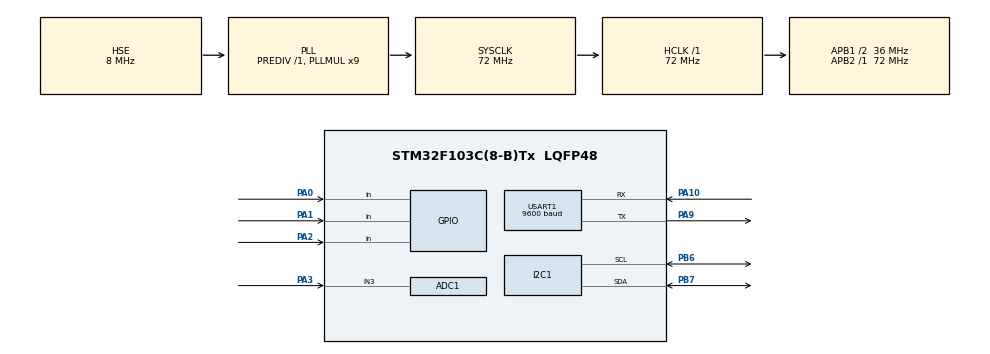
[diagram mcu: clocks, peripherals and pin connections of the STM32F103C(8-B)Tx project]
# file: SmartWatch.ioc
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ADC1.Channel-0\#ChannelRegularConversion=ADC_CHANNEL_3
ADC1.NbrOfConversion=1
ADC1.NbrOfConversionFlag=1
ADC1.Rank-0\#ChannelRegularConversion=1
ADC1.SamplingTime-0\#ChannelRegularConversion=ADC_SAMPLETIME_1CYCLE_5
ADC1.master=1
FREERTOS.Mutexes01=I2C_Mutex,Dynamic,NULL,Available
FREERTOS.Tasks01=Task_Display,-2,128,StartTaskDisplay,Default,NULL,Dynamic,NULL,NULL;Task_Sensor,0,128,StartTaskSensor,Default,NULL,Dynamic,NULL,NULL;Task_Bluetooth,0,256,StartTaskBluetooth,Default,NULL,Dynamic,NULL,NULL;Task_KeyEncoder,2,128,StartTaskEncoder,Default,NULL,Dynamic,NULL,NULL
FREERTOS.configTOTAL_HEAP_SIZE=10240
FREERTOS.configUSE_NEWLIB_REENTRANT=1
I2C1.I2C_Mode=I2C_Standard
Mcu.Family=STM32F1
Mcu.Name=STM32F103C(8-B)Tx
Mcu.Package=LQFP48
NVIC.PriorityGroup=NVIC_PRIORITYGROUP_4
NVIC.TIM2_IRQn=true\:15\:0\:false\:false\:true\:false\:false\:true\:true
NVIC.TimeBase=TIM2_IRQn
NVIC.TimeBaseIP=TIM2
NVIC.USART1_IRQn=true\:5\:0\:false\:false\:true\:true\:true\:true\:true
PA0-WKUP.GPIO_PuPd=GPIO_PULLUP
PA0-WKUP.Signal=GPIO_Input
PA1.GPIO_PuPd=GPIO_PULLUP
PA1.Signal=GPIO_Input
PA10.Mode=Asynchronous
PA10.Signal=USART1_RX
PA13.Mode=Serial_Wire
PA13.Signal=SYS_JTMS-SWDIO
PA14.Mode=Serial_Wire
PA14.Signal=SYS_JTCK-SWCLK
PA2.GPIO_PuPd=GPIO_PULLUP
PA2.Signal=GPIO_Input
PA3.Signal=ADCx_IN3
PA9.Mode=Asynchronous
PA9.Signal=USART1_TX
PB6.Mode=I2C
PB6.Signal=I2C1_SCL
PB7.Mode=I2C
PB7.Signal=I2C1_SDA
PD0-OSC_IN.Mode=HSE-External-Oscillator
PD0-OSC_IN.Signal=RCC_OSC_IN
PD1-OSC_OUT.Mode=HSE-External-Oscillator
PD1-OSC_OUT.Signal=RCC_OSC_OUT
ProjectManager.HeapSize=0x200
ProjectManager.StackSize=0x400
ProjectManager.TargetToolchain=STM32CubeIDE
RCC.ADCPresc=RCC_ADCPCLK2_DIV6
RCC.AHBFreq_Value=72000000
RCC.APB1CLKDivider=RCC_HCLK_DIV2
RCC.APB1Freq_Value=36000000
RCC.APB1TimFreq_Value=72000000
RCC.APB2Freq_Value=72000000
RCC.APB2TimFreq_Value=72000000
RCC.HCLKFreq_Value=72000000
RCC.PLLMUL=RCC_PLL_MUL9
RCC.PLLSourceVirtual=RCC_PLLSOURCE_HSE
RCC.SYSCLKFreq_VALUE=72000000
RCC.SYSCLKSource=RCC_SYSCLKSOURCE_PLLCLK
RCC.USBFreq_Value=72000000
SH.ADCx_IN3.0=ADC1_IN3,IN3
USART1.BaudRate=9600
USART1.VirtualMode=VM_ASYNC
VP_FREERTOS_VS_CMSIS_V1.Mode=CMSIS_V1
VP_SYS_VS_tim2.Mode=TIM2
board=custom

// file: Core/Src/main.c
/* USER CODE BEGIN Header */
/**
  ******************************************************************************
  * @file           : main.c
  * @brief          : Main program body - SmartWatch
  ******************************************************************************
  * @attention
  * Copyright (c) 2026 STMicroelectronics.
  * All rights reserved.
  ******************************************************************************
  */
/* USER CODE END Header */

#include "main.h"
#include "cmsis_os.h"
#include "adc.h"
#include "i2c.h"
#include "usart.h"
#include "gpio.h"
#include <stdio.h>
#include <string.h>

/* USER CODE BEGIN PTD */

// 页面枚举（硬件文档 第八节）
typedef enum {
    PAGE_MAIN = 0,      // 主页：时间 + 步数 + 电池
    PAGE_SENSOR,        // 传感器页面：AX/AY/AZ
    PAGE_SPORT,         // 运动页面：步数 + 距离
    PAGE_SYSTEM         // 系统页面：电池 + I2C状态
} Page_t;

// 共享数据结构（硬件文档 第六节）
typedef struct {
    uint8_t hour;
    uint8_t minute;
    uint8_t second;

    int16_t ax, ay, az;
    int16_t gx, gy, gz;

    uint32_t steps;
    uint8_t current_page;
    uint8_t bluetooth_connected;
    float battery_voltage;
} WatchData_t;

/* USER CODE END PTD */

/* USER CODE BEGIN PD */
#define OLED_ADDRESS    0x3C    // OLED I2C地址（7位）
#define MPU6050_ADDR    0x68    // MPU6050 I2C地址（7位）
/* USER CODE END PD */

/* USER CODE BEGIN PV */

// ============================================================
// 1. 全局共享数据（硬件文档 第六节）
// ============================================================
WatchData_t g_watchData = {
    .hour = 12,
    .minute = 0,
    .second = 0,
    .current_page = 0,
    .steps = 0,
    .battery_voltage = 3.8f,
    .bluetooth_connected = 0
};

// ============================================================
// 2. I2C 互斥锁（硬件文档 第六节）
// ============================================================
SemaphoreHandle_t xI2CMutex;

// ============================================================
// 3. 蓝牙接收缓冲区
// ============================================================
static char bt_rx_buffer[32];
static uint8_t bt_rx_index = 0;
static uint8_t bt_data_ready = 0;

// ============================================================
// 4. EC11 轮询用静态变量（KeyTask 中使用）
// ============================================================
static uint8_t encoder_a_last = 1;   // PA0 上一次状态
static uint32_t key_press_start = 0; // 按键按下起始时刻
static uint8_t key_is_pressed = 0;   // 按键是否正在被按下

/* USER CODE END PV */

void SystemClock_Config(void);
void MX_FREERTOS_Init(void);

/* USER CODE BEGIN PFP */

// 模块函数声明
void OLED_Init(void);
void OLED_Clear(void);
void OLED_ShowString(uint8_t x, uint8_t y, char* str);
void OLED_ShowNum(uint8_t x, uint8_t y, uint32_t num, uint8_t len);
void OLED_Update(void);

uint8_t MPU6050_Init(void);
void MPU6050_Read_Accel(int16_t *ax, int16_t *ay, int16_t *az);
void MPU6050_Read_Gyro(int16_t *gx, int16_t *gy, int16_t *gz);
uint32_t MPU6050_GetSteps(void);

void Bluetooth_Process(void);
void Bluetooth_SendData(char *data);

void Page_Refresh(void);

// FreeRTOS 任务函数（供 freertos.c 调用）
void StartTimeTask_Impl(void *argument);
void StartKeyTask_Impl(void *argument);
void StartSensorTask_Impl(void *argument);
void StartUITask_Impl(void *argument);
void StartBluetoothTask_Impl(void *argument);

/* USER CODE END PFP */

/* USER CODE BEGIN 0 */

// ============================================================
// 1. OLED 驱动函数 (I2C接口，含 6x8 字库)
// ============================================================
static void OLED_WriteCmd(uint8_t cmd) {
    uint8_t buf[2] = {0x00, cmd};
    HAL_I2C_Master_Transmit(&hi2c1, OLED_ADDRESS<<1, buf, 2, HAL_MAX_DELAY);
}

static void OLED_WriteData(uint8_t dat) {
    uint8_t buf[2] = {0x40, dat};
    HAL_I2C_Master_Transmit(&hi2c1, OLED_ADDRESS<<1, buf, 2, HAL_MAX_DELAY);
}

void OLED_Init(void) {
    HAL_Delay(100);
    OLED_WriteCmd(0xAE); // 关闭显示
    OLED_WriteCmd(0xD5); OLED_WriteCmd(0x80);
    OLED_WriteCmd(0xA8); OLED_WriteCmd(0x3F);
    OLED_WriteCmd(0xD3); OLED_WriteCmd(0x00);
    OLED_WriteCmd(0x40);
    OLED_WriteCmd(0x8D); OLED_WriteCmd(0x14);
    OLED_WriteCmd(0x20); OLED_WriteCmd(0x02);
    OLED_WriteCmd(0xA1);
    OLED_WriteCmd(0xC8);
    OLED_WriteCmd(0xDA); OLED_WriteCmd(0x12);
    OLED_WriteCmd(0x81); OLED_WriteCmd(0xCF);
    OLED_WriteCmd(0xD9); OLED_WriteCmd(0xF1);
    OLED_WriteCmd(0xDB); OLED_WriteCmd(0x40);
    OLED_WriteCmd(0xA4);
    OLED_WriteCmd(0xA6);
    OLED_WriteCmd(0x2E);
    OLED_WriteCmd(0xAF); // 开启显示
    OLED_Clear();
}

void OLED_Clear(void) {
    for(uint8_t page = 0; page < 8; page++) {
        OLED_WriteCmd(0xB0 + page);
        OLED_WriteCmd(0x00);
        OLED_WriteCmd(0x10);
        for(uint8_t col = 0; col < 128; col++) {
            OLED_WriteData(0x00);
        }
    }
}

// 简易 6x8 字库（ASCII 32~127）
static const uint8_t Font6x8[][6] = {
    {0x00,0x00,0x00,0x00,0x00,0x00}, // 空格 (32)
    {0x00,0x00,0x00,0x2F,0x00,0x00}, // ! (33)
    {0x00,0x00,0x07,0x00,0x07,0x00}, // " (34)
    {0x00,0x14,0x7F,0x14,0x7F,0x14}, // # (35)
    {0x00,0x24,0x2A,0x7F,0x2A,0x12}, // $ (36)
    {0x00,0x23,0x13,0x08,0x64,0x62}, // % (37)
    {0x00,0x36,0x49,0x55,0x22,0x50}, // & (38)
    {0x00,0x00,0x05,0x03,0x00,0x00}, // ' (39)
    {0x00,0x00,0x1C,0x22,0x41,0x00}, // ( (40)
    {0x00,0x00,0x41,0x22,0x1C,0x00}, // ) (41)
    {0x00,0x14,0x08,0x3E,0x08,0x14}, // * (42)
    {0x00,0x08,0x08,0x3E,0x08,0x08}, // + (43)
    {0x00,0x00,0x50,0x30,0x00,0x00}, // , (44)
    {0x00,0x08,0x08,0x08,0x08,0x08}, // - (45)
    {0x00,0x00,0x60,0x60,0x00,0x00}, // . (46)
    {0x00,0x20,0x10,0x08,0x04,0x02}, // / (47)
    {0x00,0x3E,0x51,0x49,0x45,0x3E}, // 0 (48)
    {0x00,0x00,0x42,0x7F,0x40,0x00}, // 1 (49)
    {0x00,0x42,0x61,0x51,0x49,0x46}, // 2 (50)
    {0x00,0x21,0x41,0x45,0x4B,0x31}, // 3 (51)
    {0x00,0x18,0x14,0x12,0x7F,0x10}, // 4 (52)
    {0x00,0x27,0x45,0x45,0x45,0x39}, // 5 (53)
    {0x00,0x3C,0x4A,0x49,0x49,0x30}, // 6 (54)
    {0x00,0x01,0x71,0x09,0x05,0x03}, // 7 (55)
    {0x00,0x36,0x49,0x49,0x49,0x36}, // 8 (56)
    {0x00,0x06,0x49,0x49,0x29,0x1E}, // 9 (57)
    {0x00,0x00,0x36,0x36,0x00,0x00}, // : (58)
    {0x00,0x00,0x56,0x36,0x00,0x00}, // ; (59)
    {0x00,0x08,0x14,0x22,0x41,0x00}, // < (60)
    {0x00,0x14,0x14,0x14,0x14,0x14}, // = (61)
    {0x00,0x00,0x41,0x22,0x14,0x08}, // > (62)
    {0x00,0x02,0x01,0x51,0x09,0x06}, // ? (63)
    {0x00,0x32,0x49,0x79,0x41,0x3E}, // @ (64)
    {0x00,0x7E,0x11,0x11,0x11,0x7E}, // A (65)
    {0x00,0x7F,0x49,0x49,0x49,0x36}, // B (66)
    {0x00,0x3E,0x41,0x41,0x41,0x22}, // C (67)
    {0x00,0x7F,0x41,0x41,0x22,0x1C}, // D (68)
    {0x00,0x7F,0x49,0x49,0x49,0x41}, // E (69)
    {0x00,0x7F,0x09,0x09,0x09,0x01}, // F (70)
    {0x00,0x3E,0x41,0x49,0x49,0x7A}, // G (71)
    {0x00,0x7F,0x08,0x08,0x08,0x7F}, // H (72)
    {0x00,0x00,0x41,0x7F,0x41,0x00}, // I (73)
    {0x00,0x20,0x40,0x41,0x3F,0x01}, // J (74)
    {0x00,0x7F,0x08,0x14,0x22,0x41}, // K (75)
    {0x00,0x7F,0x40,0x40,0x40,0x40}, // L (76)
    {0x00,0x7F,0x02,0x0C,0x02,0x7F}, // M (77)
    {0x00,0x7F,0x04,0x08,0x10,0x7F}, // N (78)
    {0x00,0x3E,0x41,0x41,0x41,0x3E}, // O (79)
    {0x00,0x7F,0x09,0x09,0x09,0x06}, // P (80)
    {0x00,0x3E,0x41,0x51,0x21,0x5E}, // Q (81)
    {0x00,0x7F,0x09,0x19,0x29,0x46}, // R (82)
    {0x00,0x46,0x49,0x49,0x49,0x31}, // S (83)
    {0x00,0x01,0x01,0x7F,0x01,0x01}, // T (84)
    {0x00,0x3F,0x40,0x40,0x40,0x3F}, // U (85)
    {0x00,0x1F,0x20,0x40,0x20,0x1F}, // V (86)
    {0x00,0x3F,0x40,0x38,0x40,0x3F}, // W (87)
    {0x00,0x63,0x14,0x08,0x14,0x63}, // X (88)
    {0x00,0x07,0x08,0x70,0x08,0x07}, // Y (89)
    {0x00,0x61,0x51,0x49,0x45,0x43}, // Z (90)
    {0x00,0x00,0x7F,0x41,0x41,0x00}, // [ (91)
    {0x00,0x02,0x04,0x08,0x10,0x20}, // \ (92)
    {0x00,0x00,0x41,0x41,0x7F,0x00}, // ] (93)
    {0x00,0x04,0x02,0x01,0x02,0x04}, // ^ (94)
    {0x00,0x40,0x40,0x40,0x40,0x40}, // _ (95)
    {0x00,0x00,0x01,0x02,0x04,0x00}, // ` (96)
    {0x00,0x20,0x54,0x54,0x54,0x78}, // a (97)
    {0x00,0x7F,0x48,0x44,0x44,0x38}, // b (98)
    {0x00,0x38,0x44,0x44,0x44,0x20}, // c (99)
    {0x00,0x38,0x44,0x44,0x48,0x7F}, // d (100)
    {0x00,0x38,0x54,0x54,0x54,0x18}, // e (101)
    {0x00,0x08,0x7E,0x09,0x01,0x02}, // f (102)
    {0x00,0x0C,0x52,0x52,0x52,0x3E}, // g (103)
    {0x00,0x7F,0x08,0x04,0x04,0x78}, // h (104)
    {0x00,0x00,0x44,0x7D,0x40,0x00}, // i (105)
    {0x00,0x20,0x40,0x44,0x3D,0x00}, // j (106)
    {0x00,0x7F,0x10,0x28,0x44,0x00}, // k (107)
    {0x00,0x00,0x41,0x7F,0x40,0x00}, // l (108)
    {0x00,0x7C,0x04,0x18,0x04,0x78}, // m (109)
    {0x00,0x7C,0x08,0x04,0x04,0x78}, // n (110)
    {0x00,0x38,0x44,0x44,0x44,0x38}, // o (111)
    {0x00,0x7C,0x14,0x14,0x14,0x08}, // p (112)
    {0x00,0x08,0x14,0x14,0x18,0x7C}, // q (113)
    {0x00,0x7C,0x08,0x04,0x04,0x08}, // r (114)
    {0x00,0x48,0x54,0x54,0x54,0x20}, // s (115)
    {0x00,0x04,0x3F,0x44,0x40,0x20}, // t (116)
    {0x00,0x3C,0x40,0x40,0x20,0x7C}, // u (117)
    {0x00,0x1C,0x20,0x40,0x20,0x1C}, // v (118)
    {0x00,0x3C,0x40,0x30,0x40,0x3C}, // w (119)
    {0x00,0x44,0x28,0x10,0x28,0x44}, // x (120)
    {0x00,0x0C,0x50,0x50,0x50,0x3C}, // y (121)
    {0x00,0x44,0x64,0x54,0x4C,0x44}, // z (122)
    {0x00,0x00,0x08,0x77,0x41,0x00}, // { (123)
    {0x00,0x00,0x00,0x7F,0x00,0x00}, // | (124)
    {0x00,0x00,0x41,0x77,0x08,0x00}, // } (125)
    {0x00,0x02,0x01,0x02,0x01,0x02}  // ~ (126)
};

// 显示字符串（6x8 字体）
void OLED_ShowString(uint8_t x, uint8_t y, char* str) {
    uint8_t page = y / 8;
    uint8_t col = x;

    if(y % 8 != 0) return; // 只支持 8 的倍数行

    while(*str && col < 128) {
        uint8_t c = *str++;
        if(c < 32 || c > 126) c = 32; // 无效字符显示为空格

        // 写入 6 列数据
        for(uint8_t i = 0; i < 6; i++) {
            OLED_WriteCmd(0xB0 + page);
            OLED_WriteCmd(0x00 + (col % 16));
            OLED_WriteCmd(0x10 + (col / 16));
            OLED_WriteData(Font6x8[c - 32][i]);
            col++;
        }
        // 列间距 1 像素
        OLED_WriteCmd(0xB0 + page);
        OLED_WriteCmd(0x00 + (col % 16));
        OLED_WriteCmd(0x10 + (col / 16));
        OLED_WriteData(0x00);
        col++;
    }
}

void OLED_ShowNum(uint8_t x, uint8_t y, uint32_t num, uint8_t len) {
    char buf[16];
    sprintf(buf, "%0*d", len, num);
    OLED_ShowString(x, y, buf);
}

void OLED_Update(void) {
    // 不需要额外操作（直接写模式）
}

// ============================================================
// 2. MPU6050 驱动函数
// ============================================================
uint8_t MPU6050_Init(void) {
    uint8_t check;
    HAL_I2C_Mem_Read(&hi2c1, MPU6050_ADDR<<1, 0x75, I2C_MEMADD_SIZE_8BIT, &check, 1, 100);
    if(check != 0x68) return 0;

    uint8_t data = 0x00;
    HAL_I2C_Mem_Write(&hi2c1, MPU6050_ADDR<<1, 0x6B, I2C_MEMADD_SIZE_8BIT, &data, 1, 100);
    return 1;
}

void MPU6050_Read_Accel(int16_t *ax, int16_t *ay, int16_t *az) {
    uint8_t buf[6];
    HAL_I2C_Mem_Read(&hi2c1, MPU6050_ADDR<<1, 0x3B, I2C_MEMADD_SIZE_8BIT, buf, 6, 100);
    if(ax) *ax = (buf[0]<<8) | buf[1];
    if(ay) *ay = (buf[2]<<8) | buf[3];
    if(az) *az = (buf[4]<<8) | buf[5];
}

void MPU6050_Read_Gyro(int16_t *gx, int16_t *gy, int16_t *gz) {
    uint8_t buf[6];
    HAL_I2C_Mem_Read(&hi2c1, MPU6050_ADDR<<1, 0x43, I2C_MEMADD_SIZE_8BIT, buf, 6, 100);
    if(gx) *gx = (buf[0]<<8) | buf[1];
    if(gy) *gy = (buf[2]<<8) | buf[3];
    if(gz) *gz = (buf[4]<<8) | buf[5];
}

// 简易计步算法（检测Z轴加速度峰值）
uint32_t MPU6050_GetSteps(void) {
    static uint32_t stepCount = 0;
    static int16_t lastAz = 0;
    int16_t az;
    MPU6050_Read_Accel(NULL, NULL, &az);

    if((lastAz < 0 && az > 500) || (lastAz > 0 && az < -500)) {
        stepCount++;
    }
    lastAz = az;
    return stepCount;
}

// ============================================================
// 3. 蓝牙通信函数（硬件文档 第七节）
// ============================================================
void Bluetooth_SendData(char *data) {
    HAL_UART_Transmit(&huart1, (uint8_t*)data, strlen(data), 100);
    HAL_UART_Transmit(&huart1, (uint8_t*)"\r\n", 2, 100);
}

void Bluetooth_Process(void) {
    if(!bt_data_ready) return;
    bt_data_ready = 0;

    if(strstr(bt_rx_buffer, "GET") != NULL) {
        char sendBuf[64];
        sprintf(sendBuf, "TIME=%02d:%02d:%02d,STEP=%lu,AX=%d,AY=%d,AZ=%d",
                g_watchData.hour, g_watchData.minute, g_watchData.second,
                g_watchData.steps,
                g_watchData.ax, g_watchData.ay, g_watchData.az);
        Bluetooth_SendData(sendBuf);
    }
    else if(strstr(bt_rx_buffer, "RESETSTEP") != NULL) {
        g_watchData.steps = 0;
    }
    else if(strstr(bt_rx_buffer, "SETTIME") != NULL) {
        int h, m, s;
        if(sscanf(bt_rx_buffer, "SETTIME,%d,%d,%d", &h, &m, &s) == 3) {
            g_watchData.hour = h;
            g_watchData.minute = m;
            g_watchData.second = s;
        }
    }
    else if(strstr(bt_rx_buffer, "PAGE") != NULL) {
        int p;
        if(sscanf(bt_rx_buffer, "PAGE,%d", &p) == 1) {
            if(p >= 0 && p < 4) g_watchData.current_page = p;
        }
    }
}

// ============================================================
// 4. 页面刷新函数（硬件文档 第八节）
// ============================================================
void Page_Refresh(void) {
    char line[24];
    OLED_Clear();

    switch(g_watchData.current_page) {
        case PAGE_MAIN:  // 主页
            OLED_ShowString(0, 0, "SmartWatch");
            sprintf(line, "Time:%02d:%02d:%02d", g_watchData.hour, g_watchData.minute, g_watchData.second);
            OLED_ShowString(0, 16, line);
            sprintf(line, "Steps:%lu", g_watchData.steps);
            OLED_ShowString(0, 32, line);
            sprintf(line, "Bat:%.2fV", g_watchData.battery_voltage);
            OLED_ShowString(0, 48, line);
            break;

        case PAGE_SENSOR:  // 传感器页面
            OLED_ShowString(0, 0, "--- Sensor ---");
            sprintf(line, "AX:%6d", g_watchData.ax);
            OLED_ShowString(0, 16, line);
            sprintf(line, "AY:%6d", g_watchData.ay);
            OLED_ShowString(0, 32, line);
            sprintf(line, "AZ:%6d", g_watchData.az);
            OLED_ShowString(0, 48, line);
            break;

        case PAGE_SPORT:   // 运动页面
            OLED_ShowString(0, 0, "--- Sport ---");
            sprintf(line, "Steps:%lu", g_watchData.steps);
            OLED_ShowString(0, 16, line);
            sprintf(line, "Dist:%.2fkm", g_watchData.steps * 0.0008f);
            OLED_ShowString(0, 32, line);
            break;

        case PAGE_SYSTEM:  // 系统页面
            OLED_ShowString(0, 0, "--- System ---");
            sprintf(line, "Bat:%.2fV", g_watchData.battery_voltage);
            OLED_ShowString(0, 16, line);
            OLED_ShowString(0, 32, "I2C:OK");
            OLED_ShowString(0, 48, "UART:OK");
            break;

        default:
            break;
    }
    OLED_Update();
}

/* USER CODE END 0 */

// ============================================================
// 5. 主函数
// ============================================================
int main(void)
{
  HAL_Init();

  SystemClock_Config();

  MX_GPIO_Init();
  MX_I2C1_Init();
  MX_USART1_UART_Init();
  MX_ADC1_Init();

  /* USER CODE BEGIN 2 */

  // 创建 I2C 互斥锁（硬件文档 第六节）
  xI2CMutex = xSemaphoreCreateMutex();

  // 初始化 OLED
  OLED_Init();
  OLED_ShowString(0, 0, "SmartWatch");
  OLED_ShowString(0, 16, "Starting...");
  OLED_Update();

  // 启动串口接收中断
  HAL_UART_Receive_IT(&huart1, (uint8_t*)bt_rx_buffer, 1);

  /* USER CODE END 2 */

  MX_FREERTOS_Init();
  osKernelStart();

  while (1)
  {
    /* USER CODE END WHILE */
    /* USER CODE BEGIN 3 */
  }
}

// ============================================================
// 6. 系统时钟配置
// ============================================================
void SystemClock_Config(void)
{
  RCC_OscInitTypeDef RCC_OscInitStruct = {0};
  RCC_ClkInitTypeDef RCC_ClkInitStruct = {0};
  RCC_PeriphCLKInitTypeDef PeriphClkInit = {0};

  RCC_OscInitStruct.OscillatorType = RCC_OSCILLATORTYPE_HSE;
  RCC_OscInitStruct.HSEState = RCC_HSE_ON;
  RCC_OscInitStruct.HSEPredivValue = RCC_HSE_PREDIV_DIV1;
  RCC_OscInitStruct.HSIState = RCC_HSI_ON;
  RCC_OscInitStruct.PLL.PLLState = RCC_PLL_ON;
  RCC_OscInitStruct.PLL.PLLSource = RCC_PLLSOURCE_HSE;
  RCC_OscInitStruct.PLL.PLLMUL = RCC_PLL_MUL9;
  if (HAL_RCC_OscConfig(&RCC_OscInitStruct) != HAL_OK) Error_Handler();

  RCC_ClkInitStruct.ClockType = RCC_CLOCKTYPE_HCLK|RCC_CLOCKTYPE_SYSCLK
                              |RCC_CLOCKTYPE_PCLK1|RCC_CLOCKTYPE_PCLK2;
  RCC_ClkInitStruct.SYSCLKSource = RCC_SYSCLKSOURCE_PLLCLK;
  RCC_ClkInitStruct.AHBCLKDivider = RCC_SYSCLK_DIV1;
  RCC_ClkInitStruct.APB1CLKDivider = RCC_HCLK_DIV2;
  RCC_ClkInitStruct.APB2CLKDivider = RCC_HCLK_DIV1;
  if (HAL_RCC_ClockConfig(&RCC_ClkInitStruct, FLASH_LATENCY_2) != HAL_OK) Error_Handler();

  PeriphClkInit.PeriphClockSelection = RCC_PERIPHCLK_ADC;
  PeriphClkInit.AdcClockSelection = RCC_ADCPCLK2_DIV6;
  if (HAL_RCCEx_PeriphCLKConfig(&PeriphClkInit) != HAL_OK) Error_Handler();
}

/* USER CODE BEGIN 4 */

// ============================================================
// 7. FreeRTOS 任务函数（供 freertos.c 调用）
// 硬件文档 第五节：任务划分
// ============================================================

// 任务1: 时间任务 (周期 1000ms)
void StartTimeTask_Impl(void *argument) {
    for(;;) {
        g_watchData.second++;
        if(g_watchData.second >= 60) {
            g_watchData.second = 0;
            g_watchData.minute++;
            if(g_watchData.minute >= 60) {
                g_watchData.minute = 0;
                g_watchData.hour++;
                if(g_watchData.hour >= 24) g_watchData.hour = 0;
            }
        }
        vTaskDelay(pdMS_TO_TICKS(1000));
    }
}

// 任务2: 按键/编码器任务 (周期 10ms，轮询方式)
void StartKeyTask_Impl(void *argument) {
    uint8_t a_val, b_val, sw_val;

    for(;;) {
        // 1. 读取 EC11 引脚状态
        a_val = HAL_GPIO_ReadPin(GPIOA, GPIO_PIN_0);
        b_val = HAL_GPIO_ReadPin(GPIOA, GPIO_PIN_1);
        sw_val = HAL_GPIO_ReadPin(GPIOA, GPIO_PIN_2);

        // 2. 旋转检测（检测 PA0 下降沿）
        if ((encoder_a_last == 1) && (a_val == 0)) {
            if (b_val == 1) {
                // 顺时针 -> 下一页
                g_watchData.current_page = (g_watchData.current_page + 1) % 4;
            } else {
                // 逆时针 -> 上一页
                if (g_watchData.current_page > 0) {
                    g_watchData.current_page--;
                } else {
                    g_watchData.current_page = 3;
                }
            }
        }
        encoder_a_last = a_val;

        // 3. 按键检测（长按回主页，短按清零步数）
        if (sw_val == 0) {  // 按下（低电平）
            if (!key_is_pressed) {
                key_is_pressed = 1;
                key_press_start = HAL_GetTick();
            }
        } else {  // 释放
            if (key_is_pressed) {
                uint32_t duration = HAL_GetTick() - key_press_start;
                if (duration > 1000) {
                    // 长按 > 1秒：返回主页
                    g_watchData.current_page = 0;
                } else if (duration > 30) {
                    // 短按（>30ms 消抖）：清零步数
                    g_watchData.steps = 0;
                }
                key_is_pressed = 0;
            }
        }

        vTaskDelay(pdMS_TO_TICKS(10));
    }
}

// 任务3: 传感器任务 (周期 100ms)
void StartSensorTask_Impl(void *argument) {
    // 初始化 MPU6050
    if(MPU6050_Init() == 0) {
        char msg[] = "MPU6050 Init Failed!\r\n";
        HAL_UART_Transmit(&huart1, (uint8_t*)msg, strlen(msg), 100);
    }

    for(;;) {
        // 获取 I2C 互斥锁
        if (xSemaphoreTake(xI2CMutex, portMAX_DELAY) == pdTRUE) {
            // 读取 MPU6050
            MPU6050_Read_Accel(&g_watchData.ax, &g_watchData.ay, &g_watchData.az);
            MPU6050_Read_Gyro(&g_watchData.gx, &g_watchData.gy, &g_watchData.gz);
            g_watchData.steps = MPU6050_GetSteps();

            // 读取电池电压 (ADC)
            HAL_ADC_Start(&hadc1);
            if(HAL_ADC_PollForConversion(&hadc1, 100) == HAL_OK) {
                uint16_t adc_val = HAL_ADC_GetValue(&hadc1);
                g_watchData.battery_voltage = adc_val * (3.3f / 4096.0f) * 2.0f;
            }
            HAL_ADC_Stop(&hadc1);

            xSemaphoreGive(xI2CMutex);
        }

        vTaskDelay(pdMS_TO_TICKS(100));
    }
}

// 任务4: UI 显示任务 (周期 200ms)
void StartUITask_Impl(void *argument) {
    for(;;) {
        // 获取 I2C 互斥锁
        if (xSemaphoreTake(xI2CMutex, portMAX_DELAY) == pdTRUE) {
            Page_Refresh();
            xSemaphoreGive(xI2CMutex);
        }
        vTaskDelay(pdMS_TO_TICKS(200));
    }
}

// 任务5: 蓝牙任务 (周期 500ms)
void StartBluetoothTask_Impl(void *argument) {
    char tx_buf[64];
    uint32_t lastSend = 0;

    for(;;) {
        // 处理接收到的指令
        Bluetooth_Process();

        // 每 500ms 主动上传数据
        uint32_t now = HAL_GetTick();
        if (now - lastSend >= 500) {
            lastSend = now;
            sprintf(tx_buf, "TIME=%02d:%02d,STEP=%lu",
                    g_watchData.hour, g_watchData.minute, g_watchData.steps);
            Bluetooth_SendData(tx_buf);
        }

        vTaskDelay(pdMS_TO_TICKS(50));
    }
}

// ============================================================
// 8. 串口接收中断回调
// ============================================================
void HAL_UART_RxCpltCallback(UART_HandleTypeDef *huart) {
    if (huart->Instance == USART1) {
        // 接收单字节，存入缓冲区
        if (bt_rx_buffer[0] == '\n' || bt_rx_buffer[0] == '\r') {
            // 换行符：结束当前命令
            if (bt_rx_index > 0) {
                bt_rx_buffer[bt_rx_index] = '\0';
                bt_data_ready = 1;
                bt_rx_index = 0;
            }
        } else {
            if (bt_rx_index < 31) {
                bt_rx_buffer[bt_rx_index++] = bt_rx_buffer[0];
            }
        }
        // 继续接收下一个字节
        HAL_UART_Receive_IT(&huart1, (uint8_t*)bt_rx_buffer, 1);
    }
}

/* USER CODE END 4 */

// ============================================================
// 9. 系统回调与错误处理
// ============================================================
void HAL_TIM_PeriodElapsedCallback(TIM_HandleTypeDef *htim)
{
  if (htim->Instance == TIM2) {
    HAL_IncTick();
  }
}

void Error_Handler(void)
{
  __disable_irq();
  while (1) {}
}

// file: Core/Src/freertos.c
/* USER CODE BEGIN Header */
/**
  ******************************************************************************
  * File Name          : freertos.c
  * Description        : Code for freertos applications
  ******************************************************************************
  * @attention
  *
  * Copyright (c) 2026 STMicroelectronics.
  * All rights reserved.
  *
  * This software is licensed under terms that can be found in the LICENSE file
  * in the root directory of this software component.
  * If no LICENSE file comes with this software, it is provided AS-IS.
  *
  ******************************************************************************
  */
/* USER CODE END Header */

#include "FreeRTOS.h"
#include "task.h"
#include "main.h"
#include "cmsis_os.h"

/* USER CODE BEGIN Variables */

/* 外部引用 main.c 中定义的互斥锁句柄（硬件文档 第六节） */
extern SemaphoreHandle_t xI2CMutex;

/* USER CODE END Variables */

/* 任务句柄（必须与 CubeMX 中创建的任务名称一致） */
osThreadId Task_TimeHandle;
osThreadId Task_KeyHandle;
osThreadId Task_SensorHandle;
osThreadId Task_UIHandle;
osThreadId Task_BluetoothHandle;

/* 互斥锁句柄（CubeMX 中创建） */
osMutexId I2C_MutexHandle;

/* 任务函数声明（与 main.c 中实现的函数匹配） */
void StartTimeTask(void const * argument);
void StartKeyTask(void const * argument);
void StartSensorTask(void const * argument);
void StartUITask(void const * argument);
void StartBluetoothTask(void const * argument);

void MX_FREERTOS_Init(void);

/* GetIdleTaskMemory prototype (linked to static allocation support) */
void vApplicationGetIdleTaskMemory( StaticTask_t **ppxIdleTaskTCBBuffer, StackType_t **ppxIdleTaskStackBuffer, uint32_t *pulIdleTaskStackSize );

/* USER CODE BEGIN GET_IDLE_TASK_MEMORY */
static StaticTask_t xIdleTaskTCBBuffer;
static StackType_t xIdleStack[configMINIMAL_STACK_SIZE];

void vApplicationGetIdleTaskMemory( StaticTask_t **ppxIdleTaskTCBBuffer, StackType_t **ppxIdleTaskStackBuffer, uint32_t *pulIdleTaskStackSize )
{
  *ppxIdleTaskTCBBuffer = &xIdleTaskTCBBuffer;
  *ppxIdleTaskStackBuffer = &xIdleStack[0];
  *pulIdleTaskStackSize = configMINIMAL_STACK_SIZE;
}
/* USER CODE END GET_IDLE_TASK_MEMORY */

void MX_FREERTOS_Init(void) {

  /* ============================================================
     创建互斥锁（硬件文档 第六节）
     ============================================================ */
  osMutexDef(I2C_Mutex);
  I2C_MutexHandle = osMutexCreate(osMutex(I2C_Mutex));

  /* ============================================================
     创建 5 个任务（硬件文档 第五节）
     ============================================================ */

  /* 任务1: 时间任务 (周期 1000ms，优先级 Normal) */
  osThreadDef(Task_Time, StartTimeTask, osPriorityNormal, 0, 128);
  Task_TimeHandle = osThreadCreate(osThread(Task_Time), NULL);

  /* 任务2: 按键/编码器任务 (周期 10ms，优先级 High) */
  osThreadDef(Task_Key, StartKeyTask, osPriorityHigh, 0, 128);
  Task_KeyHandle = osThreadCreate(osThread(Task_Key), NULL);

  /* 任务3: 传感器任务 (周期 100ms，优先级 High) */
  osThreadDef(Task_Sensor, StartSensorTask, osPriorityNormal, 0, 128);
  Task_SensorHandle = osThreadCreate(osThread(Task_Sensor), NULL);

  /* 任务4: UI 显示任务 (周期 200ms，优先级 Normal) */
  osThreadDef(Task_UI, StartUITask, osPriorityNormal, 0, 128);
  Task_UIHandle = osThreadCreate(osThread(Task_UI), NULL);

  /* 任务5: 蓝牙任务 (周期 500ms，优先级 Low) */
  osThreadDef(Task_Bluetooth, StartBluetoothTask, osPriorityLow, 0, 256);
  Task_BluetoothHandle = osThreadCreate(osThread(Task_Bluetooth), NULL);

}

/* ============================================================
   任务函数体（调用 main.c 中已实现的具体逻辑）
   ============================================================ */

void StartTimeTask(void const * argument)
{
  /* USER CODE BEGIN StartTimeTask */
  /* 调用 main.c 中实现的时间任务 */
  extern void StartTimeTask_Impl(void *argument);
  StartTimeTask_Impl((void*)argument);
  /* USER CODE END StartTimeTask */
}

void StartKeyTask(void const * argument)
{
  /* USER CODE BEGIN StartKeyTask */
  /* 调用 main.c 中实现的按键/编码器任务 */
  extern void StartKeyTask_Impl(void *argument);
  StartKeyTask_Impl((void*)argument);
  /* USER CODE END StartKeyTask */
}

void StartSensorTask(void const * argument)
{
  /* USER CODE BEGIN StartSensorTask */
  /* 调用 main.c 中实现的传感器任务 */
  extern void StartSensorTask_Impl(void *argument);
  StartSensorTask_Impl((void*)argument);
  /* USER CODE END StartSensorTask */
}

void StartUITask(void const * argument)
{
  /* USER CODE BEGIN StartUITask */
  /* 调用 main.c 中实现的 UI 显示任务 */
  extern void StartUITask_Impl(void *argument);
  StartUITask_Impl((void*)argument);
  /* USER CODE END StartUITask */
}

void StartBluetoothTask(void const * argument)
{
  /* USER CODE BEGIN StartBluetoothTask */
  /* 调用 main.c 中实现的蓝牙任务 */
  extern void StartBluetoothTask_Impl(void *argument);
  StartBluetoothTask_Impl((void*)argument);
  /* USER CODE END StartBluetoothTask */
}
